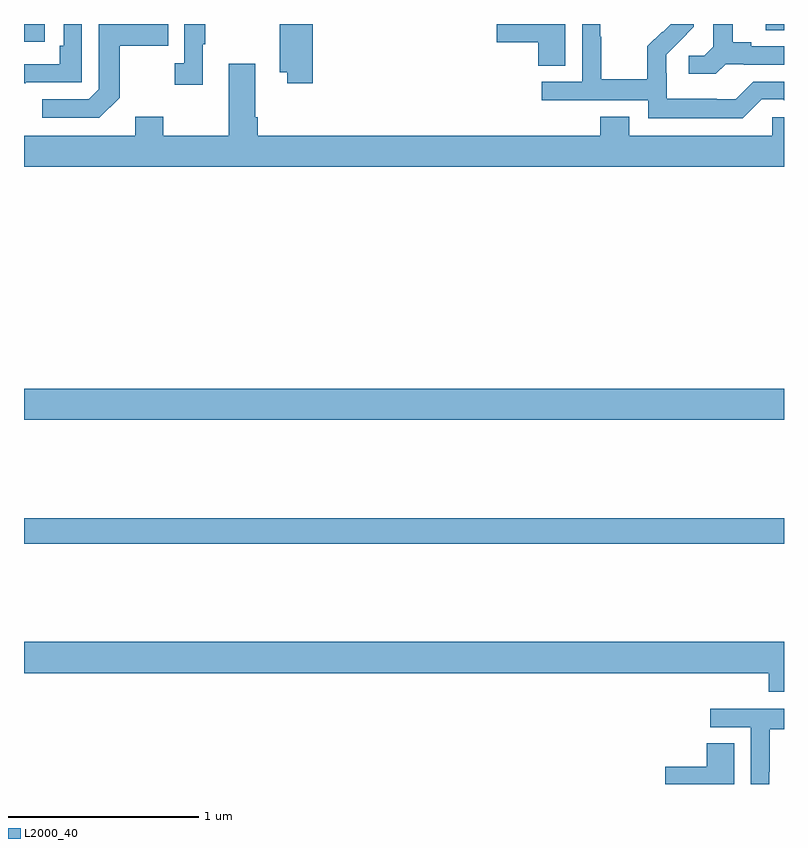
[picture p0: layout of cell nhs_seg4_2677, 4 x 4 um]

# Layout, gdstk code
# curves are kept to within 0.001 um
import gdstk
lib = gdstk.Library(unit=1e-6, precision=1e-09)
def R(c, l, rs):  # rectangles x0, y0, x1, y1
    for r in rs: c.add(gdstk.rectangle(r[:2], r[2:], *l))
def P(c, l, *ps):  # polygons
    for p in ps: c.add(gdstk.Polygon(p, *l))
L2000_40 = (2000, 40)

nhs_seg4_2677 = lib.new_cell('nhs_seg4_2677')
R(nhs_seg4_2677, L2000_40, [(251,800.164,255,800.3), (251,800.816,255,800.98), (251,802.806,251.11,802.9), (254.903,802.867,255,802.9)])
P(nhs_seg4_2677, L2000_40, [(251.009,802.593),(251.304,802.593),(251.304,802.9),(251.208,802.9),(251.208,802.786),(251.188,802.786),(251.188,802.689),(251,802.689),(251,802.588),(251.009,802.588)],
  [(254.694,802.689),(254.788,802.689),(254.788,802.686),(255,802.686),(255,802.782),(254.827,802.782),(254.827,802.805),(254.731,802.805),(254.731,802.9),(254.627,802.9),(254.627,802.781),(254.58,802.734),(254.499,802.734),(254.499,802.637),(254.642,802.637)],
  [(253.849,802.9),(253.488,802.9),(253.488,802.805),(253.706,802.805),(253.706,802.681),(253.849,802.681)],
  [(251.941,802.793),(251.953,802.793),(251.953,802.9),(251.844,802.9),(251.844,802.694),(251.793,802.694),(251.793,802.581),(251.941,802.581)],
  [(254.883,802.503),(254.999,802.503),(255,802.5),(255,802.596),(254.838,802.596),(254.745,802.503),(254.645,802.503),(254.645,802.507),(254.382,802.507),(254.382,802.641),(254.38,802.641),(254.38,802.738),(254.526,802.886),(254.526,802.9),(254.404,802.9),(254.361,802.857),(254.358,802.86),(254.281,802.783),(254.281,802.609),(254.037,802.609),(254.037,802.832),(254.034,802.832),(254.034,802.9),(253.938,802.9),(253.938,802.596),(253.725,802.596),(253.725,802.5),(254.286,802.5),(254.286,802.403),(254.783,802.403)],
  [(252.521,802.9),(252.346,802.9),(252.346,802.646),(252.386,802.646),(252.386,802.587),(252.521,802.587)],
  [(251.503,802.513),(251.503,802.786),(251.759,802.786),(251.759,802.9),(251.394,802.9),(251.394,802.557),(251.34,802.503),(251.097,802.503),(251.097,802.407),(251.397,802.407)],
  [(255,802.41),(254.937,802.41),(254.937,802.312),(254.185,802.312),(254.185,802.411),(254.033,802.411),(254.033,802.312),(252.23,802.312),(252.23,802.408),(252.217,802.408),(252.217,802.69),(252.077,802.69),(252.077,802.312),(251.733,802.312),(251.733,802.411),(251.585,802.411),(251.585,802.312),(251,802.312),(251,802.148),(255,802.148)],
  [(255,799.648),(251,799.648),(251,799.484),(254.921,799.484),(254.921,799.385),(255,799.385)],
  [(254.922,798.964),(254.925,798.964),(254.925,799.188),(255,799.188),(255,799.296),(254.613,799.296),(254.613,799.2),(254.826,799.2),(254.826,798.9),(254.922,798.9)],
  [(254.737,799.115),(254.594,799.115),(254.594,798.992),(254.376,798.992),(254.376,798.9),(254.737,798.9)])

lib.write_gds('nhs_seg4_2677.gds')
